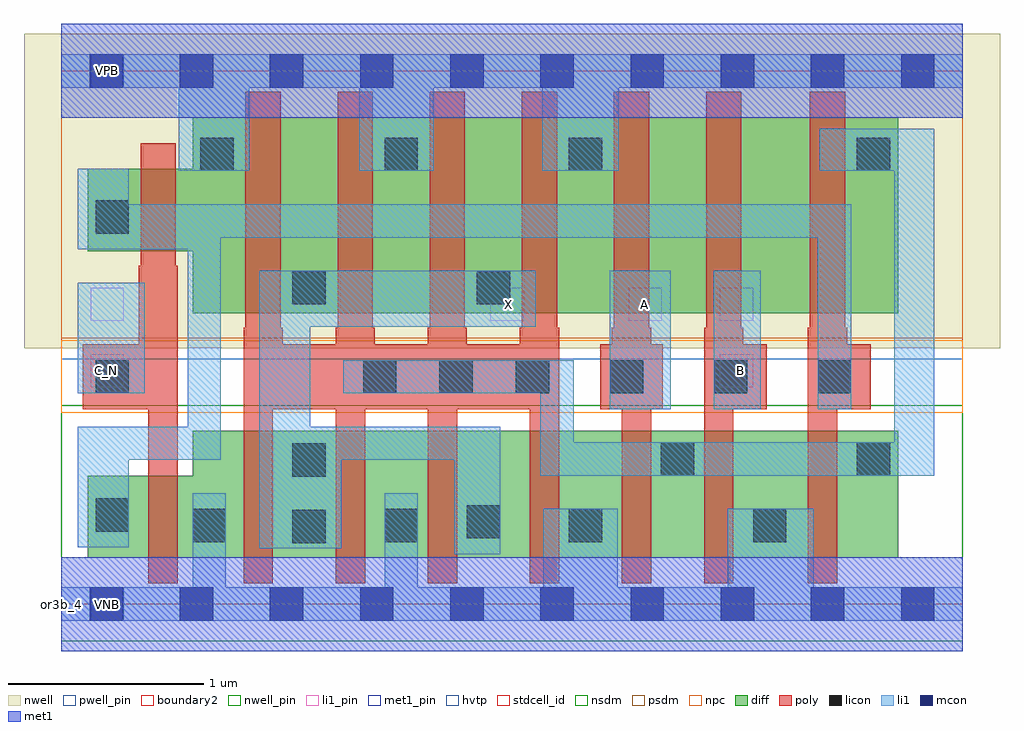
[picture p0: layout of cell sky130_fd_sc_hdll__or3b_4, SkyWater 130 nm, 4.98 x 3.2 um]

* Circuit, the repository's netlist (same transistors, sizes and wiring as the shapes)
* Copyright 2020 The SkyWater PDK Authors
*
* Licensed under the Apache License, Version 2.0 (the "License");
* you may not use this file except in compliance with the License.
* You may obtain a copy of the License at
*
*     https://www.apache.org/licenses/LICENSE-2.0
*
* Unless required by applicable law or agreed to in writing, software
* distributed under the License is distributed on an "AS IS" BASIS,
* WITHOUT WARRANTIES OR CONDITIONS OF ANY KIND, either express or implied.
* See the License for the specific language governing permissions and
* limitations under the License.
*
* SPDX-License-Identifier: Apache-2.0

.SUBCKT sky130_fd_sc_hdll__or3b_4 A B C_N VGND VNB VPB VPWR X
*.PININFO A:I B:I C_N:I VGND:I VNB:I VPB:I VPWR:I X:O
MMP0 VPWR A sndPA VPB sky130_fd_pr__pfet_01v8_hvt m=1 w=1.0U l=0.18U mult=1 sa=0.265
+ sb=0.265 sd=0.28 area=0.063 perim=1.14
MMP1 sndPA B sndPB VPB sky130_fd_pr__pfet_01v8_hvt m=1 w=1.0U l=0.18U mult=1 sa=0.265
+ sb=0.265 sd=0.28 area=0.063 perim=1.14
MMP2 sndPB C y VPB sky130_fd_pr__pfet_01v8_hvt m=1 w=1.0U l=0.18U mult=1 sa=0.265
+ sb=0.265 sd=0.28 area=0.063 perim=1.14
MMIP2 C C_N VPWR VPB sky130_fd_pr__pfet_01v8_hvt m=1 w=0.42U l=0.18U mult=1 sa=0.265
+ sb=0.265 sd=0.28 area=0.063 perim=1.14
MMIP3 X y VPWR VPB sky130_fd_pr__pfet_01v8_hvt m=4 w=1.0U l=0.18U mult=1 sa=0.265
+ sb=0.265 sd=0.28 area=0.063 perim=1.14
MMN0 y A VGND VNB sky130_fd_pr__nfet_01v8 m=1 w=0.65U l=0.15U mult=1 sa=0.265 sb=0.265
+ sd=0.28 area=0.063 perim=1.14
MMN1 y B VGND VNB sky130_fd_pr__nfet_01v8 m=1 w=0.65U l=0.15U mult=1 sa=0.265 sb=0.265
+ sd=0.28 area=0.063 perim=1.14
MMN2 y C VGND VNB sky130_fd_pr__nfet_01v8 m=1 w=0.65U l=0.15U mult=1 sa=0.265 sb=0.265
+ sd=0.28 area=0.063 perim=1.14
MMIN2 C C_N VGND VNB sky130_fd_pr__nfet_01v8 m=1 w=0.42U l=0.15U mult=1 sa=0.265
+ sb=0.265 sd=0.28 area=0.063 perim=1.14
MMIN3 X y VGND VNB sky130_fd_pr__nfet_01v8 m=4 w=0.65U l=0.15U mult=1 sa=0.265
+ sb=0.265 sd=0.28 area=0.063 perim=1.14
.ENDS sky130_fd_sc_hdll__or3b_4

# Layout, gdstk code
import gdstk
lib = gdstk.Library(unit=1e-6, precision=1e-09)
def R(c, l, rs):  # rectangles x0, y0, x1, y1
    for r in rs: c.add(gdstk.rectangle(r[:2], r[2:], *l))
def A(c, l, x, y, w, h, nx, ny, dx, dy):  # array of equal rectangles
    R(c, l, [(x+i*dx, y+j*dy, x+i*dx+w, y+j*dy+h) for i in range(nx) for j in range(ny)])
def P(c, l, *ps):  # polygons
    for p in ps: c.add(gdstk.Polygon(p, *l))
nwell_pin = (64, 16)
nwell = (64, 20)
diff = (65, 20)
poly = (66, 20)
licon = (66, 44)
li1_pin = (67, 16)
li1 = (67, 20)
mcon = (67, 44)
met1_pin = (68, 16)
met1 = (68, 20)
hvtp = (78, 44)
stdcell_id = (81, 4)
nsdm = (93, 44)
psdm = (94, 20)
npc = (95, 20)
pwell_pin = (122, 16)
boundary2 = (236, 0)

sky130_fd_sc_hdll__or3b_ = lib.new_cell('sky130_fd_sc_hdll__or3b_4')
R(sky130_fd_sc_hdll__or3b_, nwell_pin, [(0.15,2.635,0.32,2.805)])
R(sky130_fd_sc_hdll__or3b_, nwell, [(-0.19,1.305,4.79,2.91)])
P(sky130_fd_sc_hdll__or3b_, diff, [(4.27,2.485),(0.67,2.485),(0.67,2.22),(0.135,2.22),(0.135,1.8),(0.67,1.8),(0.67,1.485),(4.27,1.485)],
  [(4.27,0.885),(0.67,0.885),(0.67,0.655),(0.135,0.655),(0.135,0.235),(4.27,0.235)])
P(sky130_fd_sc_hdll__or3b_, poly, [(0.595,1.725),(0.585,1.725),(0.585,2.35),(0.405,2.35),(0.405,1.725),(0.395,1.725),(0.395,1.325),(0.11,1.325),(0.11,0.995),(0.445,0.995),(0.445,0.105),(0.595,0.105)],
  [(2.54,1.41),(2.53,1.41),(2.53,2.615),(2.35,2.615),(2.35,1.41),(2.34,1.41),(2.34,1.325),(2.07,1.325),(2.07,1.41),(2.06,1.41),(2.06,2.615),(1.88,2.615),(1.88,1.41),(1.87,1.41),(1.87,1.325),(1.6,1.325),(1.6,1.41),(1.59,1.41),(1.59,2.615),(1.41,2.615),(1.41,1.41),(1.4,1.41),(1.4,1.325),(1.13,1.325),(1.13,1.41),(1.12,1.41),(1.12,2.615),(0.94,2.615),(0.94,1.41),(0.93,1.41),(0.93,0.105),(1.08,0.105),(1.08,0.995),(1.4,0.995),(1.4,0.105),(1.55,0.105),(1.55,0.995),(1.87,0.995),(1.87,0.105),(2.02,0.105),(2.02,0.995),(2.39,0.995),(2.39,0.105),(2.54,0.105)],
  [(3.07,1.325),(3.01,1.325),(3.01,1.41),(3,1.41),(3,2.615),(2.82,2.615),(2.82,1.41),(2.81,1.41),(2.81,1.325),(2.75,1.325),(2.75,0.995),(2.86,0.995),(2.86,0.105),(3.01,0.105),(3.01,0.995),(3.07,0.995)],
  [(3.6,1.325),(3.48,1.325),(3.48,1.41),(3.47,1.41),(3.47,2.615),(3.29,2.615),(3.29,1.41),(3.28,1.41),(3.28,0.105),(3.43,0.105),(3.43,0.995),(3.6,0.995)],
  [(4.13,1.325),(4.01,1.325),(4.01,1.41),(4,1.41),(4,2.615),(3.82,2.615),(3.82,1.41),(3.81,1.41),(3.81,0.105),(3.96,0.105),(3.96,0.995),(4.13,0.995)])
A(sky130_fd_sc_hdll__or3b_, licon, 1.65, 0.315, 0.17, 0.17, 3, 1, 0.94, 0)
A(sky130_fd_sc_hdll__or3b_, licon, 1.54, 1.075, 0.17, 0.17, 3, 1, 0.39, 0)
A(sky130_fd_sc_hdll__or3b_, licon, 2.8, 1.075, 0.17, 0.17, 3, 1, 0.53, 0)
A(sky130_fd_sc_hdll__or3b_, licon, 0.71, 2.21, 0.17, 0.17, 3, 1, 0.94, 0)
R(sky130_fd_sc_hdll__or3b_, licon, [(1.18,0.31,1.35,0.48), (0.67,0.315,0.84,0.485), (2.07,0.335,2.24,0.505), (0.175,0.37,0.345,0.54), (1.18,0.65,1.35,0.82), (3.06,0.655,3.23,0.825), (4.06,0.655,4.23,0.825), (0.175,1.075,0.345,1.245), (1.18,1.53,1.35,1.7), (2.12,1.53,2.29,1.7), (0.175,1.89,0.345,2.06), (4.06,2.21,4.23,2.38)])
R(sky130_fd_sc_hdll__or3b_, li1_pin, [(0.15,1.105,0.32,1.275), (3.36,1.105,3.53,1.275), (0.15,1.445,0.32,1.615), (2.19,1.445,2.36,1.615), (2.895,1.445,3.065,1.615), (3.36,1.445,3.53,1.615)])
R(sky130_fd_sc_hdll__or3b_, li1, [(2.8,0.995,3.11,1.7), (3.33,0.995,3.57,1.7), (0.085,1.075,0.425,1.64)])
P(sky130_fd_sc_hdll__or3b_, li1, [(2.42,1.7),(1.01,1.7),(1.01,0.285),(1.43,0.285),(1.43,0.735),(2.005,0.735),(2.005,0.255),(2.24,0.255),(2.24,0.905),(1.27,0.905),(1.27,1.415),(2.42,1.415)],
  [(4.6,0.085),(3.84,0.085),(3.84,0.485),(3.4,0.485),(3.4,0.085),(2.84,0.085),(2.84,0.485),(2.46,0.485),(2.46,0.085),(1.82,0.085),(1.82,0.565),(1.65,0.565),(1.65,0.085),(0.84,0.085),(0.84,0.565),(0.67,0.565),(0.67,0.085),(0,0.085),(0,-0.085),(4.6,-0.085)],
  [(4.6,2.805),(0,2.805),(0,2.635),(0.6,2.635),(0.6,2.21),(0.96,2.21),(0.96,2.635),(1.52,2.635),(1.52,2.21),(1.9,2.21),(1.9,2.635),(2.455,2.635),(2.455,2.21),(2.845,2.21),(2.845,2.635),(4.6,2.635)],
  [(4.03,2.04),(0.345,2.04),(0.345,2.22),(0.085,2.22),(0.085,1.81),(0.645,1.81),(0.645,0.905),(0.085,0.905),(0.085,0.29),(0.345,0.29),(0.345,0.735),(0.815,0.735),(0.815,1.87),(3.86,1.87),(3.86,0.995),(4.03,0.995)],
  [(4.455,2.425),(3.87,2.425),(3.87,2.21),(4.25,2.21),(4.25,0.825),(2.615,0.825),(2.615,1.245),(1.44,1.245),(1.44,1.075),(2.445,1.075),(2.445,0.655),(4.455,0.655)])
A(sky130_fd_sc_hdll__or3b_, mcon, 0.145, -0.085, 0.17, 0.17, 10, 2, 0.46, 2.72)
R(sky130_fd_sc_hdll__or3b_, met1_pin, [(0.15,-0.085,0.32,0.085), (0.15,2.635,0.32,2.805)])
R(sky130_fd_sc_hdll__or3b_, met1, [(0,-0.24,4.6,0.24), (0,2.48,4.6,2.96)])
R(sky130_fd_sc_hdll__or3b_, hvtp, [(0,1.25,4.6,2.72)])
R(sky130_fd_sc_hdll__or3b_, stdcell_id, [(0,0,4.6,2.72)])
R(sky130_fd_sc_hdll__or3b_, nsdm, [(0,-0.19,4.6,1.015)])
R(sky130_fd_sc_hdll__or3b_, psdm, [(0,1.355,4.6,2.91)])
R(sky130_fd_sc_hdll__or3b_, npc, [(0,0.975,4.6,1.345)])
R(sky130_fd_sc_hdll__or3b_, pwell_pin, [(0.15,-0.085,0.32,0.085)])
R(sky130_fd_sc_hdll__or3b_, boundary2, [(0,0,4.6,2.72)])
sky130_fd_sc_hdll__or3b_.add(gdstk.Label('A', (2.975,1.53), layer=67, texttype=5))
sky130_fd_sc_hdll__or3b_.add(gdstk.Label('B', (3.465,1.19), layer=67, texttype=5))
sky130_fd_sc_hdll__or3b_.add(gdstk.Label('C_N', (0.23,1.19), layer=67, texttype=5))
sky130_fd_sc_hdll__or3b_.add(gdstk.Label('X', (2.28,1.53), layer=67, texttype=5))
sky130_fd_sc_hdll__or3b_.add(gdstk.Label('VNB', (0.235,0), layer=64, texttype=59))
sky130_fd_sc_hdll__or3b_.add(gdstk.Label('VPB', (0.235,2.72), layer=64, texttype=5))
sky130_fd_sc_hdll__or3b_.add(gdstk.Label('VGND', (0.23,0), layer=68, texttype=5))
sky130_fd_sc_hdll__or3b_.add(gdstk.Label('VPWR', (0.23,2.72), layer=68, texttype=5))
sky130_fd_sc_hdll__or3b_.add(gdstk.Label('or3b_4', (0,0), layer=83, texttype=44))

lib.write_gds('sky130_fd_sc_hdll__or3b_4.gds')
